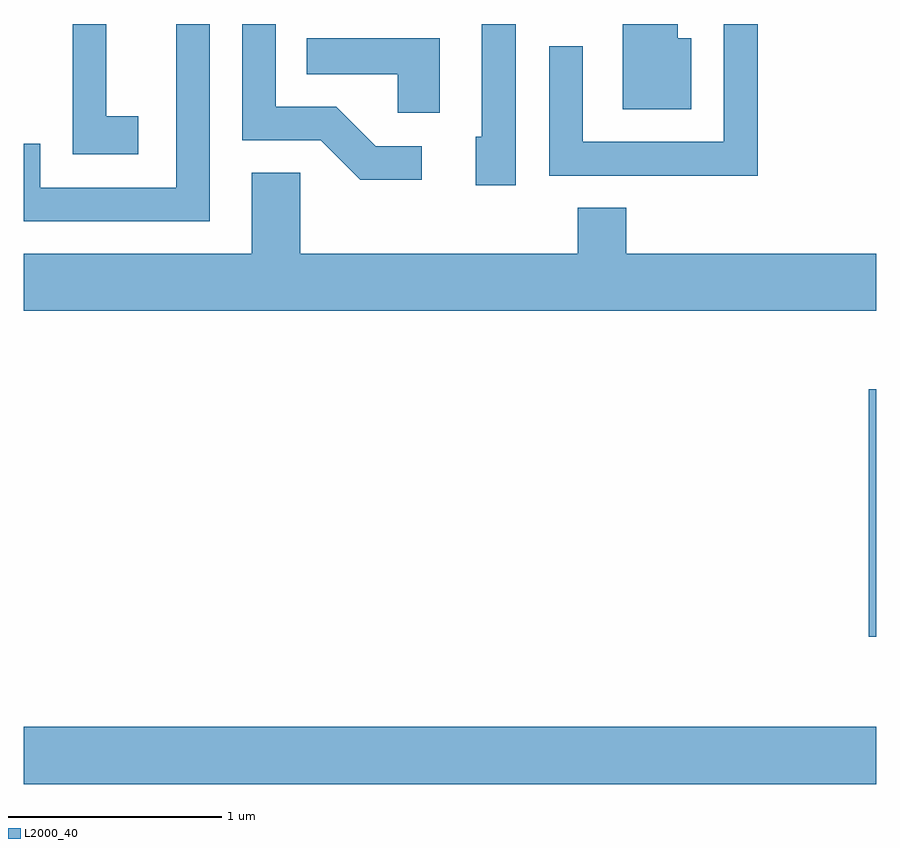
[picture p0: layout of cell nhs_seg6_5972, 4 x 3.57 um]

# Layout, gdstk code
import gdstk
lib = gdstk.Library(unit=1e-6, precision=1e-09)
def R(c, l, rs):  # rectangles x0, y0, x1, y1
    for r in rs: c.add(gdstk.rectangle(r[:2], r[2:], *l))
def P(c, l, *ps):  # polygons
    for p in ps: c.add(gdstk.Polygon(p, *l))
L2000_40 = (2000, 40)

nhs_seg6_5972 = lib.new_cell('nhs_seg6_5972')
R(nhs_seg6_5972, L2000_40, [(365.611,1656.596,369.611,1656.864), (369.576,1657.286,369.611,1658.449)])
P(nhs_seg6_5972, L2000_40, [(369.054,1660.162),(368.896,1660.162),(368.896,1659.609),(368.234,1659.609),(368.234,1660.058),(368.076,1660.058),(368.076,1659.451),(369.054,1659.451)],
  [(366.484,1660.162),(366.326,1660.162),(366.326,1659.394),(365.689,1659.394),(365.689,1659.599),(365.611,1659.599),(365.611,1659.236),(366.484,1659.236)],
  [(367.919,1660.162),(367.761,1660.162),(367.761,1659.634),(367.731,1659.634),(367.731,1659.406),(367.919,1659.406)],
  [(367.478,1659.589),(367.262,1659.589),(367.077,1659.774),(366.794,1659.774),(366.794,1660.162),(366.636,1660.162),(366.636,1659.616),(367.004,1659.616),(367.189,1659.431),(367.478,1659.431)],
  [(366.149,1659.729),(365.999,1659.729),(365.999,1660.162),(365.841,1660.162),(365.841,1659.551),(366.149,1659.551)],
  [(368.744,1660.094),(368.679,1660.094),(368.679,1660.162),(368.421,1660.162),(368.421,1659.761),(368.744,1659.761)],
  [(367.564,1660.094),(366.938,1660.094),(366.938,1659.926),(367.366,1659.926),(367.366,1659.746),(367.564,1659.746)],
  [(369.611,1659.084),(368.439,1659.084),(368.439,1659.299),(368.211,1659.299),(368.211,1659.084),(366.909,1659.084),(366.909,1659.464),(366.681,1659.464),(366.681,1659.084),(365.611,1659.084),(365.611,1658.816),(369.611,1658.816)])

lib.write_gds('nhs_seg6_5972.gds')
